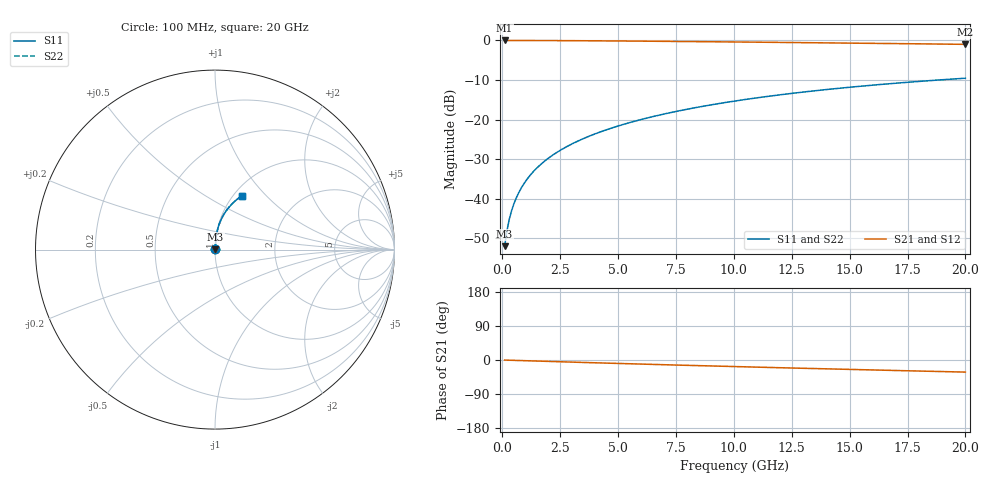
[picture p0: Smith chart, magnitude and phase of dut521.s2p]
! Touchstone file exported from HFSS 2024.1.0
!  File:  C:/UserFiles/LocalFiles/RDL_TSV_Batchsim/temp_RDL_top_521_1779679839.aedt
!  Generated:  11:32:49 AM May 25, 2026
!  Design:  RDL_top
!  Project:  temp_RDL_top_521_1779679839
!  Setup:  Setup1
!  Solution:  Sweep
! Variables:
!  dtsv = 10.80580581um
!  hbump = 3um
!  htsv = 90.13um
!  ldown = 100um
!  lrdl = 410.27um
!  p = 40
!  p1 = 55.33um
!  rhole = 1um
!  t = 450um
!  tdown = 3.915915916um
!  trdl = 4.33um
!  wdown = 15.38538539um
!  wrdl = 20.12um
# GHz S MA R 50.000000
! Terminal data exported
! Port[1] = Box2_T1
! Port[2] = Box2_T2
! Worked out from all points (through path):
!   200 points, 100 MHz to 20 GHz, reference 50 ohm
!   highest |S21| = -0.02 dB at 100 MHz (marker M1); lowest = -1.0 dB at 20 GHz (marker M2)
!   group delay of S21, straight-line fit = 4.4 ps
!   lowest |S11| = -52.0 dB at 100 MHz (marker M3), VSWR 1.01, Z = 50.2 + j0.174 ohm
!   |S11| at or under -10 dB: start of sweep to 18.85 GHz
!   |S22| runs from -52.0 to -9.5 dB; largest |S21 - S12| = 5.2e-15
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0.1  0.002518 43.5  0.9982 -0.2  0.9982 -0.2  0.002518 43.5
! Gamma 0 0 0 0
! Port Impedance 50 0 50 0
0.2  0.003928 61.1  0.9981 -0.4  0.9981 -0.4  0.003928 61.1
0.3  0.005477 68.7  0.998 -0.6  0.998 -0.6  0.005477 68.7
0.4  0.00705 72.9  0.9978 -0.8  0.9978 -0.8  0.00705 72.9
0.5  0.008626 75.5  0.9977 -1.0  0.9977 -1.0  0.008625 75.5
0.6  0.0102 77.4  0.9976 -1.1  0.9976 -1.1  0.0102 77.4
0.8  0.01336 79.9  0.9974 -1.5  0.9974 -1.5  0.01336 79.9
1.1  0.01814 82.1  0.997 -2.1  0.997 -2.1  0.01814 82.1
1.5  0.02456 83.6  0.9963 -2.8  0.9963 -2.8  0.02456 83.6
1.8  0.02942 84.3  0.9957 -3.4  0.9957 -3.4  0.02942 84.3
2.1  0.0343 84.7  0.9949 -3.9  0.9949 -3.9  0.0343 84.7
2.7  0.04415 85.1  0.9932 -5.0  0.9932 -5.0  0.04415 85.1
3.5  0.05745 85.1  0.9903 -6.5  0.9903 -6.5  0.05745 85.1
4.2  0.06926 84.9  0.9874 -7.7  0.9874 -7.7  0.06926 84.9
5  0.08292 84.3  0.9836 -9.1  0.9836 -9.1  0.08292 84.3
5.9  0.0985 83.6  0.9791 -10.7  0.9791 -10.7  0.0985 83.6
6.8  0.1142 82.6  0.9742 -12.2  0.9742 -12.2  0.1142 82.6
8.4  0.1425 80.7  0.9652 -14.8  0.9652 -14.8  0.1425 80.7
10.1  0.1725 78.4  0.9551 -17.5  0.9551 -17.5  0.1725 78.4
13.4  0.2295 73.5  0.9347 -22.5  0.9347 -22.5  0.2295 73.5
16.7  0.2833 68.5  0.9134 -27.3  0.9134 -27.3  0.2834 68.5
20  0.3331 63.6  0.8915 -31.9  0.8915 -31.9  0.3331 63.6
